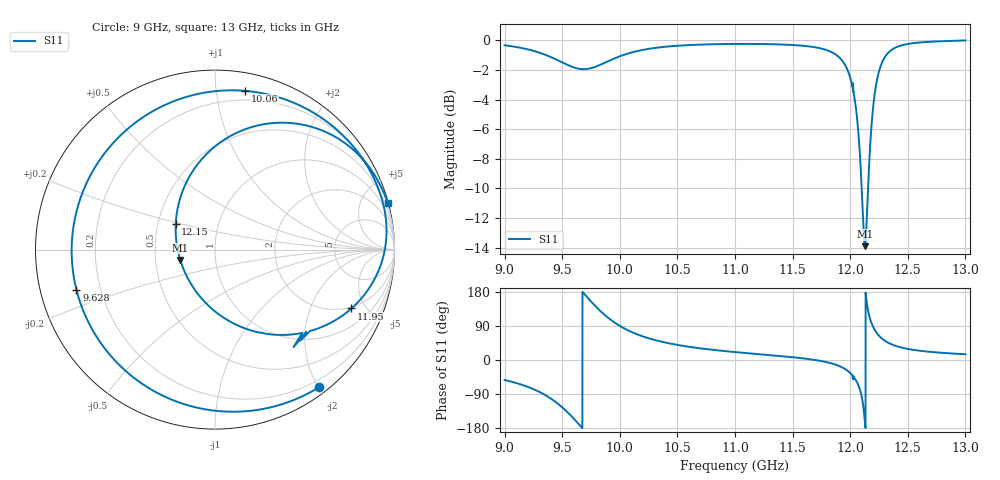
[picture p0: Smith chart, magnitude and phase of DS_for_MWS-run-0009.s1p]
! TOUCHSTONE file generated by CST DESIGN STUDIO
! Date and time: Tue Feb  4 16:15:29 2025
! Project name: C:\Work\MatlabApps\UnitCellOptimizationMatlab\CST\unitcell.cst
! Tree item: Tasks\Sweep1\SPara1\S-Parameters
! Header version: 2024
! Port assignment regex: !\s*Touchstone port\s*([0-9]+)\s*=\s*(CST MWS port|CST DES external port|CST DES block port)\s*(.+)\s* \(\"(.*)\"\)(\s*mode\s*([0-9]+))?.*
! Touchstone port assignment:
! Touchstone port 1 = CST DES external port 1 ("")
# GHz S MA R 50
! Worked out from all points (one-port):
!   4001 points, 9 GHz to 13 GHz, reference 50 ohm
!   lowest |S11| = -13.9 dB at 12.13 GHz (marker M1), VSWR 1.51, Z = 33.6 - j4.02 ohm
!   |S11| at or under -10 dB: 12.09977 GHz to 12.15479 GHz (55.02 MHz wide, 0.454 % of centre)
!   S11 on the Smith chart (normalised r, x): 9 GHz: 0.10, -2.01; 9.628 GHz: 0.11, -0.14; 10.06 GHz: 0.13, +1.20; 11.95 GHz: 1.91, -3.98; 12.15 GHz: 0.62, +0.19; 13 GHz: 0.06, +7.48
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9  0.9612 -52.8
9.168  0.9376 -67.3
9.32  0.9029 -87.1
9.417  0.8719 -105.0
9.5  0.8416 -124.8
9.628  0.8037 -163.9
9.721  0.8005 164.2
9.826  0.8247 130.7
9.908  0.8527 109.1
10  0.8826 90.0
10.065  0.9003 79.2
10.257  0.9359 56.7
10.5  0.9578 39.8
11  0.9714 20.9
11.5  0.9634 7.3
11.805  0.9232 -6.3
11.953  0.8281 -23.3
12  0.7482 -34.2
12.041  0.6267 -49.2
12.073  0.4775 -68.1
12.1  0.3148 -96.6
12.128  0.202 -163.5
12.146  0.2615 146.8
12.192  0.5563 92.3
12.24  0.7577 67.7
12.342  0.9161 43.6
12.5  0.9713 29.2
13  0.998 15.2
